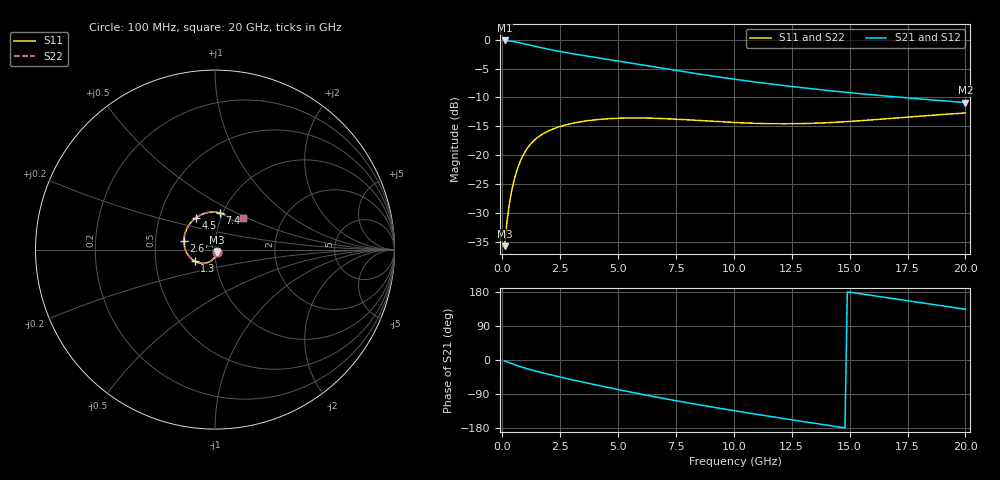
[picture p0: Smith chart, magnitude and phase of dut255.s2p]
! Touchstone file exported from HFSS 2023.1.0
!  File:  D:/Users/fzz/RDL_TSV/temp_RDL_TSV_255_1778760686.aedt
!  Generated:  8:19:53 %x4E0B%x5348  5%x6708 14, 2026
!  Design:  RDL_TSV
!  Project:  temp_RDL_TSV_255_1778760686
!  Setup:  Setup1
!  Solution:  Sweep
! Variables:
!  dtsv = 21.49um
!  hbump = 3um
!  htsv = 87.1um
!  ldown = 580.12um
!  lrdl = 244.4um
!  p = 40
!  p1 = 54.65um
!  rhole = 10um
!  subl = 2717.96um
!  t = 450um
!  tdown = 3.5um
!  trdl = 4.7um
!  viad = 10um
!  wdown = 22.34um
!  wrdl = 27.94um
!  xbump = 18um
# GHz S MA R 50.000000
! Terminal data exported
! Port[1] = TM1_1_T1
! Port[2] = TM1_4_T1
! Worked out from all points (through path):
!   200 points, 100 MHz to 20 GHz, reference 50 ohm
!   highest |S21| = -0.11 dB at 100 MHz (marker M1); lowest = -10.9 dB at 20 GHz (marker M2)
!   group delay of S21, straight-line fit = 29.6 ps
!   lowest |S11| = -35.8 dB at 100 MHz (marker M3), VSWR 1.03, Z = 51 - j1.31 ohm
!   |S11| at or under -10 dB: start of sweep to end of sweep
!   |S22| runs from -35.8 to -12.7 dB; largest |S21 - S12| = 2.9e-14
!   S11 on the Smith chart (normalised r, x): 100 MHz: 1.02, -0.03; 1.3 GHz: 0.79, -0.10; 2.6 GHz: 0.70, +0.07; 4.5 GHz: 0.76, +0.28; 7.4 GHz: 0.97, +0.41; 20 GHz: 1.27, +0.47
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0.1  0.01623 -52.2  0.9878 -2.4  0.9878 -2.4  0.01623 -52.2
! Gamma 0 0 0 0
! Port Impedance 50 0 50 0
0.2  0.0262 -75.2  0.9844 -4.8  0.9844 -4.8  0.0262 -75.2
0.3  0.0372 -87.9  0.9793 -7.2  0.9793 -7.2  0.03722 -87.9
0.4  0.0484 -97.2  0.9728 -9.4  0.9728 -9.4  0.04843 -97.2
0.5  0.0595 -104.8  0.9654 -11.6  0.9654 -11.6  0.05955 -104.9
0.6  0.07033 -111.7  0.957 -13.8  0.957 -13.8  0.07039 -111.7
0.8  0.09057 -124.0  0.9384 -17.9  0.9384 -17.9  0.09062 -124.1
1  0.1083 -135.2  0.9185 -21.7  0.9185 -21.7  0.1083 -135.3
1.3  0.1298 -150.0  0.8886 -27.0  0.8886 -27.0  0.1298 -150.0
1.8  0.1549 -170.4  0.8435 -34.9  0.8435 -34.9  0.1549 -170.4
2.6  0.1798 164.1  0.7852 -46.4  0.7852 -46.4  0.1799 164.1
3.5  0.1964 141.5  0.732 -58.6  0.732 -58.6  0.1967 141.4
4.5  0.2064 121.2  0.6795 -71.6  0.6795 -71.6  0.2069 121.1
5.6  0.2101 103.4  0.6256 -85.4  0.6256 -85.4  0.2107 103.3
6.8  0.2081 88.5  0.5714 -99.6  0.5714 -99.6  0.2088 88.4
7.4  0.2056 82.5  0.5465 -106.3  0.5465 -106.3  0.2063 82.4
8.7  0.1987 72.5  0.4978 -120.3  0.4978 -120.3  0.1995 72.4
10.1  0.1916 65.6  0.4533 -134.6  0.4533 -134.6  0.1925 65.4
11.7  0.1873 61.1  0.4117 -150.2  0.4117 -150.2  0.188 60.9
13.4  0.1888 58.8  0.3759 -166.2  0.3759 -166.2  0.1895 58.5
16.7  0.2076 55.0  0.3238 163.6  0.3238 163.6  0.2081 54.8
20  0.2321 48.6  0.286 134.0  0.286 134.0  0.2325 48.4
